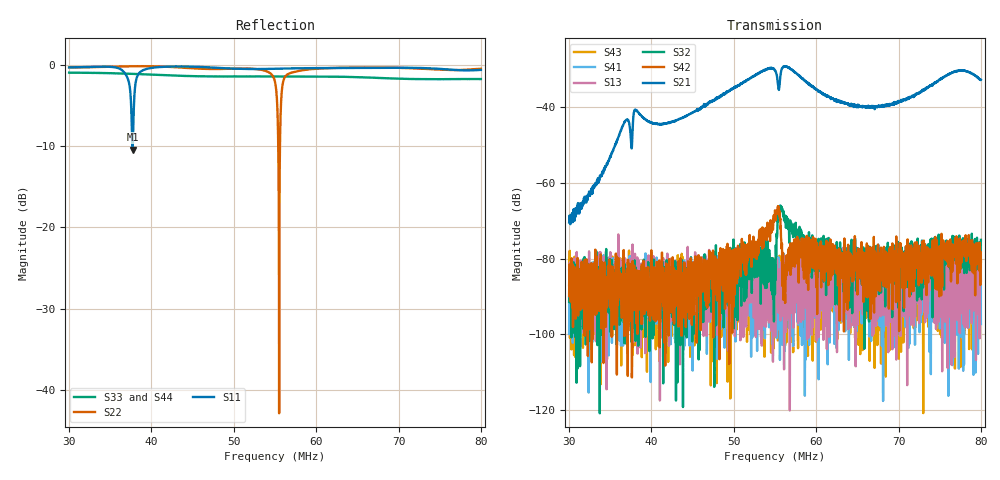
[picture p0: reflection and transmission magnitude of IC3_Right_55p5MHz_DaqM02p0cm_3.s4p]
#  HZ  S  DB  R  50.00
! Rohde & Schwarz Vector Network Analyzer
! Rohde-Schwarz,ZNB8-4Port,1311601044102961,2.82
! Created: UTC 2/13/2019, 12:06:13 PM
! freq[Hz]  db:S11  ang:S11  db:S12  ang:S12  db:S13  ang:S13  db:S14  ang:S14
!  db:S21  ang:S21  db:S22  ang:S22  db:S23  ang:S23  db:S24  ang:S24
!  db:S31  ang:S31  db:S32  ang:S32  db:S33  ang:S33  db:S34  ang:S34
!  db:S41  ang:S41  db:S42  ang:S42  db:S43  ang:S43  db:S44  ang:S44
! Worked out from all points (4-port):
!   2001 points, 30 MHz to 80 MHz, reference 50 ohm
!   strongest paths, dB at 30 MHz, 42.5 MHz, 55 MHz, 67.5 MHz, 80 MHz:
!     S21: -70.4, -43.7, -30.2, -39.9, -32.7
!     S42: -89.9, -81.6, -67.2, -76.3, -80.6
!     S32: -91.5, -95.4, -89.4, -84.2, -75.0
!     S13: -83.0, -84.0, -86.2, -89.3, -85.9
!     S41: -99.9, -91.4, -85.6, -80.0, -97.3
!     S43: -87.0, -88.4, -88.5, -92.7, -81.1
!   lowest |S11| = -10.4 dB at 37.7 MHz (marker M1), VSWR 1.86, Z = 88.5 - j17.1 ohm
!   |S11| at or under -10 dB: 37.67574 MHz to 37.73081 MHz (55.08 kHz wide, 0.146 % of centre)
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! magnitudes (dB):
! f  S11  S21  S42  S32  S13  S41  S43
! 30 MHz  -0.3  -70.4  -89.9  -91.5  -83.0  -99.9  -87.0
! 37.7 MHz  -10.4  -46.3  -80.6  -88.1  -76.3  -91.2  -105.5
! 54.25 MHz  -0.5  -29.7  -71.9  -78.5  -96.9  -90.1  -84.9
! 55.35 MHz  -0.4  -33.8  -66.2  -70.3  -84.9  -91.0  -101.6
! 56.12 MHz  -0.4  -29.2  -81.8  -69.1  -82.7  -86.9  -88.1
! 66.05 MHz  -0.4  -39.9  -80.7  -78.9  -85.8  -86.7  -84.3
! 80 MHz  -0.6  -32.7  -80.6  -75.0  -85.9  -97.3  -81.1
